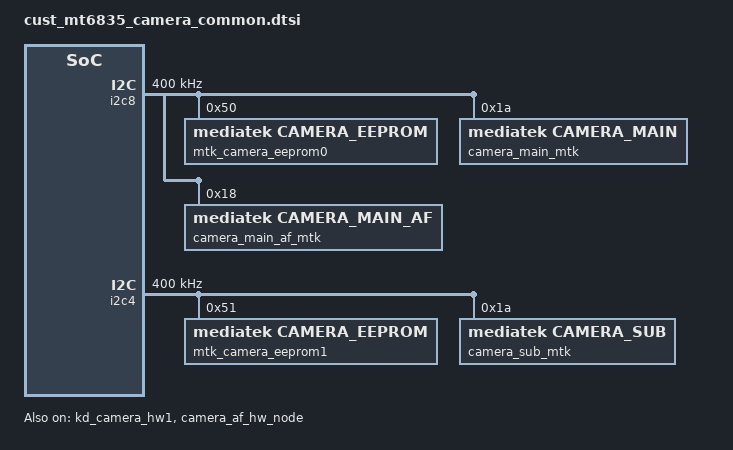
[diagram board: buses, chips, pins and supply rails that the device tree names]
// SPDX-License-Identifier: GPL-2.0
/* Copyright (c) 2020 MediaTek Inc. */
/* CAMERA GPIO standardization */
&pio {
	camera_pins_cam0_rst_0: cam0@0 {
		pins_cmd_dat {
			pinmux = <PINMUX_GPIO26__FUNC_GPIO26>;
			slew-rate = <1>;
			output-low;
		};
	};
	camera_pins_cam0_rst_1: cam0@1 {
		pins_cmd_dat {
			pinmux = <PINMUX_GPIO26__FUNC_GPIO26>;
			slew-rate = <1>;
			output-high;
		};
	};
	camera_pins_cam1_rst_0: cam1@2 {
		pins_cmd_dat {
			pinmux = <PINMUX_GPIO27__FUNC_GPIO27>;
			slew-rate = <1>;
			output-low;
		};
	};
	camera_pins_cam1_rst_1: cam1@3 {
		pins_cmd_dat {
			pinmux = <PINMUX_GPIO27__FUNC_GPIO27>;
			slew-rate = <1>;
			output-high;
		};
	};
	camera_pins_cam0_mclk_off: camera_pins_cam0_mclk_off {
		pins_cmd_dat {
			pinmux = <PINMUX_GPIO89__FUNC_GPIO89>;
			drive-strength = <1>;
		};
	};
	camera_pins_cam0_mclk_2ma: camera_pins_cam0_mclk_2ma {
		pins_cmd_dat {
			pinmux = <PINMUX_GPIO89__FUNC_CMMCLK1>;
			drive-strength = <0>;
		};
	};
	camera_pins_cam0_mclk_4ma: camera_pins_cam0_mclk_4ma {
		pins_cmd_dat {
			pinmux = <PINMUX_GPIO89__FUNC_CMMCLK1>;
			drive-strength = <1>;
		};
	};
	camera_pins_cam0_mclk_6ma: camera_pins_cam0_mclk_6ma {
		pins_cmd_dat {
			pinmux = <PINMUX_GPIO89__FUNC_CMMCLK1>;
			drive-strength = <2>;
		};
	};
	camera_pins_cam0_mclk_8ma: camera_pins_cam0_mclk_8ma {
		pins_cmd_dat {
			pinmux = <PINMUX_GPIO89__FUNC_CMMCLK1>;
			drive-strength = <3>;
		};
	};
	camera_pins_cam1_mclk_off: camera_pins_cam1_mclk_off {
		pins_cmd_dat {
			pinmux = <PINMUX_GPIO90__FUNC_GPIO90>;
			drive-strength = <1>;
		};
	};
	camera_pins_cam1_mclk_2ma: camera_pins_cam1_mclk_2ma {
		pins_cmd_dat {
			pinmux = <PINMUX_GPIO90__FUNC_CMMCLK2>;
			drive-strength = <0>;
		};
	};
	camera_pins_cam1_mclk_4ma: camera_pins_cam1_mclk_4ma {
		pins_cmd_dat {
			pinmux = <PINMUX_GPIO90__FUNC_CMMCLK2>;
			drive-strength = <1>;
		};
	};
	camera_pins_cam1_mclk_6ma: camera_pins_cam1_mclk_6ma {
		pins_cmd_dat {
			pinmux = <PINMUX_GPIO90__FUNC_CMMCLK2>;
			drive-strength = <2>;
		};
	};
	camera_pins_cam1_mclk_8ma: camera_pins_cam1_mclk_8ma {
		pins_cmd_dat {
			pinmux = <PINMUX_GPIO90__FUNC_CMMCLK2>;
			drive-strength = <3>;
		};
	};

	camera_flashlight_pwm_148: camera_flashlight_pwm@gpio148 {
		pins_cmd_dat {
			pinmux = <PINMUX_GPIO148__FUNC_PWM_1>;
			output-high;
		};
	};
	camera_flashlight_pwm_171: camera_flashlight_pwm@gpio171 {
		pins_cmd_dat {
			pinmux = <PINMUX_GPIO171__FUNC_PWM_AO>;
			output-high;
		};
	};
	camera_flashlight_gpio_low_171: camera_flashlight_gpio_low@gpio171 {
		pins_cmd_dat {
			pinmux = <PINMUX_GPIO171__FUNC_GPIO171>;
			output-low;
		};
	};
	camera_flashlight_gpio_high_171: camera_flashlight_gpio_high@gpio171 {
		pins_cmd_dat {
			pinmux = <PINMUX_GPIO171__FUNC_GPIO171>;
			output-high;
		};
	};
	camera_flashlight_gpio_low_148: camera_flashlight_gpio_low@gpio148 {
		pins_cmd_dat {
			pinmux = <PINMUX_GPIO148__FUNC_GPIO148>;
			output-low;
		};
	};
	camera_flashlight_gpio_high_148: camera_flashlight_gpio_high@gpio148 {
		pins_cmd_dat {
			pinmux = <PINMUX_GPIO148__FUNC_GPIO148>;
			output-high;
		};
	};
	camera_flashlight_pwm_147: camera_flashlight_pwm@gpio147 {
		pins_cmd_dat {
			pinmux = <PINMUX_GPIO147__FUNC_PWM_0>;
			output-high;
		};
	};
	camera_flashlight_gpio_low_147: camera_flashlight_gpio_low@gpio147 {
		pins_cmd_dat {
			pinmux = <PINMUX_GPIO147__FUNC_GPIO147>;
			output-low;
		};
	};
	camera_flashlight_gpio_high_147: camera_flashlight_gpio_high@gpio147 {
		pins_cmd_dat {
			pinmux = <PINMUX_GPIO147__FUNC_GPIO147>;
			output-high;
		};
	};

	camera_pins_default: camdefault {
	};
};
&kd_camera_hw1 {
	pinctrl-names = "default",
			"cam0_rst0", "cam0_rst1",
			"cam1_rst0", "cam1_rst1",
			"cam2_rst0", "cam2_rst1",
			"cam0_mclk_off",
			"cam0_mclk_2mA", "cam0_mclk_4mA",
			"cam0_mclk_6mA", "cam0_mclk_8mA",
			"cam1_mclk_off",
			"cam1_mclk_2mA", "cam1_mclk_4mA",
			"cam1_mclk_6mA", "cam1_mclk_8mA",
			"cam2_mclk_off",
			"cam2_mclk_2mA", "cam2_mclk_4mA",
			"cam2_mclk_6mA", "cam2_mclk_8mA",
			"cam0_avdd1_gpio_0",  "cam0_avdd1_gpio_1";

	pinctrl-0 = <&camera_pins_default>;
	pinctrl-1 = <&camera_pins_cam0_rst_0>;
	pinctrl-2 = <&camera_pins_cam0_rst_1>;
	pinctrl-3 = <&camera_pins_cam1_rst_0>;
	pinctrl-4 = <&camera_pins_cam1_rst_1>;
	pinctrl-5 = <&camera_pins_cam0_mclk_off>;
	pinctrl-6 = <&camera_pins_cam0_mclk_2ma>;
	pinctrl-7 = <&camera_pins_cam0_mclk_4ma>;
	pinctrl-8 = <&camera_pins_cam0_mclk_6ma>;
	pinctrl-9 = <&camera_pins_cam0_mclk_8ma>;
	pinctrl-10 = <&camera_pins_cam1_mclk_off>;
	pinctrl-11 = <&camera_pins_cam1_mclk_2ma>;
	pinctrl-12 = <&camera_pins_cam1_mclk_4ma>;
	pinctrl-13 = <&camera_pins_cam1_mclk_6ma>;
	pinctrl-14 = <&camera_pins_cam1_mclk_8ma>;

	/* main (wide)*/
	cam0_vcama-supply = <&mt6377_vfp>;
	cam0_vcamd-supply = <&mt6377_vio28>;
	cam0_vcamio-supply = <&mt6377_vaud18>;
	cam0_vcamaf-supply = <&mt6377_vibr>;

	cam0_pin_mclk = "mclk";
	cam0_pin_rst = "gpio";
	cam0_pin_vcama = "regulator";
	cam0_pin_vcamio = "regulator";
	cam0_pin_vcamd = "regulator";
	cam0_pin_vcamaf = "regulator";
	cam0_enable_sensor = "sc820acs_sunwin_rear_mipi_raw   ov13b10_txd_rear_mipi_raw  gc13a0_lce_rear_mipi_raw   gc08a8_ofilm_rear_mipi_raw ";


	/* front*/
    cam1_vcama-supply = <&mt6377_vfp>;
	cam1_vcamd-supply = <&mt6377_vio28>;
	cam1_vcamio-supply = <&mt6377_vaud18>;

	cam1_pin_mclk = "mclk";
	cam1_pin_rst = "gpio";
	cam1_pin_vcama = "regulator";
	cam1_pin_vcamio = "regulator";
	cam1_pin_vcamd = "regulator";
	cam1_enable_sensor = " sc820cs_txd_front_mipi_raw gc05a2_lce_front_mipi_raw sc520cs_sunwin_front_mipi_raw  gc08a8_sunwin_front_mipi_raw";

	status = "okay";
};
/* CAMERA GPIO end */

/* CAMERA EEPROM */
&i2c8 {
	status = "okay";
	clock-frequency = <400000>;
	#address-cells = <1>;
	#size-cells = <0>;

	mtk_camera_eeprom0:camera_eeprom0@50 {
		compatible = "mediatek,camera_eeprom";
		reg = <0x50>;
		status = "okay";
	};
	camera_main_mtk:camera_main@1a {
		compatible = "mediatek,camera_main";
		#thermal-sensor-cells = <0>;
		reg = <0x1a>;
		status = "okay";
	};

	camera_main_af_mtk:camera_main_af@18 {
		compatible = "mediatek,camera_main_af";
		reg = <0x18>;
		status = "okay";
	};
};

&i2c4 {
	status = "okay";
	clock-frequency = <400000>;
	#address-cells = <1>;
	#size-cells = <0>;

	mtk_camera_eeprom1:camera_eeprom1@51 {
		compatible = "mediatek,camera_eeprom";
		reg = <0x51>;
		status = "okay";
	};
	camera_sub_mtk:camera_sub@1a {
		compatible = "mediatek,camera_sub";
		#thermal-sensor-cells = <0>;
		reg = <0x1a>;
		status = "okay";
	};
};
/* CAMERA EEPROM end */

/* CAMERA AF */


&camera_af_hw_node {
	camaf_m1_pmic-supply = <&mt6377_vibr>;
	status = "okay";
};
/* CAMERA AF end */

&aw3641e {
pinctrl-names = "default",
				"gpio_low_171",
				"gpio_high_171",
				"output_pwm_171",
				"gpio_low_148",
				"gpio_high_148",
				"output_pwm_148",
				"gpio_low_147",
				"gpio_high_147",
				"output_pwm_147";
pinctrl-0 = <&camera_flashlight_gpio_low_171>;
pinctrl-1 = <&camera_flashlight_gpio_low_171>;
pinctrl-2 = <&camera_flashlight_gpio_high_171>;
pinctrl-3 = <&camera_flashlight_pwm_171>;
pinctrl-4 = <&camera_flashlight_gpio_low_148>;
pinctrl-5 = <&camera_flashlight_gpio_high_148>;
pinctrl-6 = <&camera_flashlight_pwm_148>;
pinctrl-7 = <&camera_flashlight_gpio_low_147>;
pinctrl-8 = <&camera_flashlight_gpio_high_147>;
pinctrl-9 = <&camera_flashlight_pwm_147>;
};
